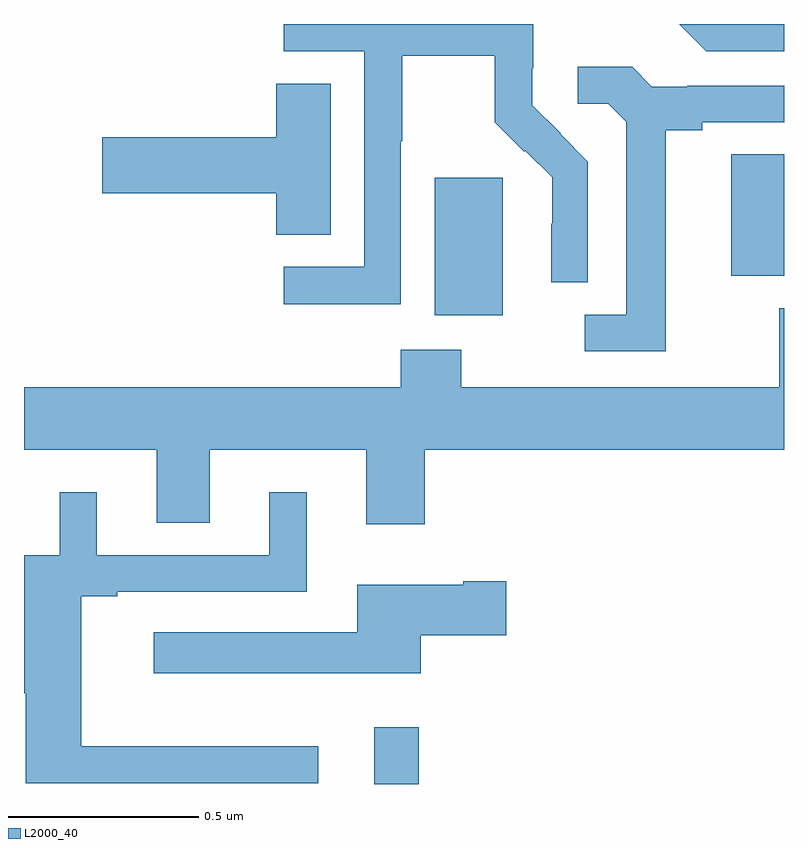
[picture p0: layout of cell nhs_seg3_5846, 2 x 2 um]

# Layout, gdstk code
import gdstk
lib = gdstk.Library(unit=1e-6, precision=1e-09)
def R(c, l, rs):  # rectangles x0, y0, x1, y1
    for r in rs: c.add(gdstk.rectangle(r[:2], r[2:], *l))
def P(c, l, *ps):  # polygons
    for p in ps: c.add(gdstk.Polygon(p, *l))
L2000_40 = (2000, 40)

nhs_seg3_5846 = lib.new_cell('nhs_seg3_5846')
R(nhs_seg3_5846, L2000_40, [(184.922,669.4,185.039,669.55), (185.081,670.634,185.26,670.995), (185.861,670.737,186,671.057)])
P(nhs_seg3_5846, L2000_40, [(184.992,671.092),(184.995,671.092),(184.995,671.316),(185.239,671.316),(185.239,671.141),(185.316,671.064),(185.319,671.067),(185.39,670.997),(185.39,670.874),(185.388,670.874),(185.388,670.72),(185.484,670.72),(185.484,671.038),(185.411,671.111),(185.412,671.112),(185.338,671.186),(185.338,671.283),(185.34,671.283),(185.34,671.4),(184.683,671.4),(184.683,671.328),(184.896,671.328),(184.896,670.761),(184.683,670.761),(184.683,670.663),(184.992,670.663)],
  [(186,671.4),(185.724,671.4),(185.796,671.328),(186,671.328)],
  [(185.689,671.12),(185.785,671.12),(185.785,671.142),(186,671.142),(186,671.238),(185.746,671.238),(185.746,671.235),(185.652,671.235),(185.6,671.287),(185.457,671.287),(185.457,671.19),(185.538,671.19),(185.585,671.143),(185.585,670.635),(185.475,670.635),(185.475,670.539),(185.689,670.539)],
  [(184.807,671.243),(184.664,671.243),(184.664,671.102),(184.206,671.102),(184.206,670.955),(184.664,670.955),(184.664,670.846),(184.807,670.846)],
  [(185.054,670.28),(186,670.28),(186,670.652),(185.987,670.652),(185.987,670.444),(185.151,670.444),(185.151,670.543),(184.991,670.543),(184.991,670.444),(184,670.444),(184,670.28),(184.349,670.28),(184.349,670.087),(184.489,670.087),(184.489,670.28),(184.901,670.28),(184.901,670.083),(185.054,670.083)],
  [(184.774,669.5),(184.15,669.5),(184.15,669.894),(184.246,669.894),(184.246,669.906),(184.744,669.906),(184.744,670.168),(184.646,670.168),(184.646,670.002),(184.192,670.002),(184.192,670.168),(184.094,670.168),(184.094,670.002),(184,670.002),(184,669.639),(184.004,669.639),(184.004,669.402),(184.774,669.402)],
  [(185.044,669.791),(185.269,669.791),(185.269,669.933),(185.156,669.933),(185.156,669.925),(184.877,669.925),(184.877,669.799),(184.341,669.799),(184.341,669.692),(185.044,669.692)])

lib.write_gds('nhs_seg3_5846.gds')
